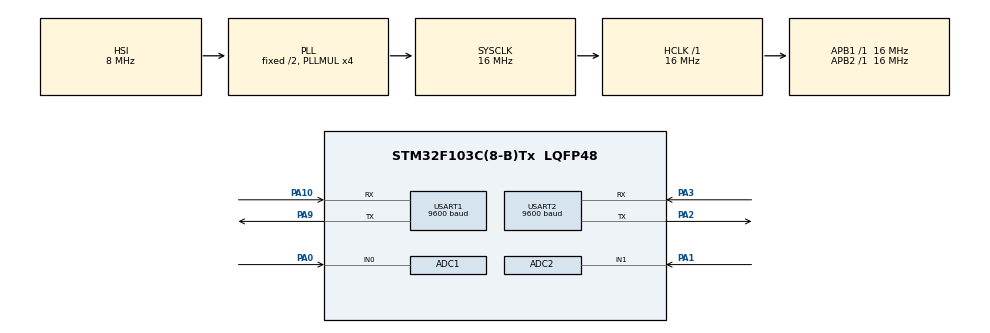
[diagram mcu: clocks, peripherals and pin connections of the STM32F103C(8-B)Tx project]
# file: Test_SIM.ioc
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ADC1.Channel-1\#ChannelRegularConversion=ADC_CHANNEL_0
ADC1.ContinuousConvMode=DISABLE
ADC1.NbrOfConversionFlag=1
ADC1.Rank-1\#ChannelRegularConversion=1
ADC1.SamplingTime-1\#ChannelRegularConversion=ADC_SAMPLETIME_239CYCLES_5
ADC1.master=1
ADC2.Channel-5\#ChannelRegularConversion=ADC_CHANNEL_1
ADC2.ContinuousConvMode=DISABLE
ADC2.NbrOfConversionFlag=1
ADC2.Rank-5\#ChannelRegularConversion=1
ADC2.SamplingTime-5\#ChannelRegularConversion=ADC_SAMPLETIME_1CYCLE_5
Mcu.Family=STM32F1
Mcu.Name=STM32F103C(8-B)Tx
Mcu.Package=LQFP48
NVIC.ADC1_2_IRQn=true\:0\:0\:false\:false\:true\:true\:true\:true
NVIC.PriorityGroup=NVIC_PRIORITYGROUP_4
PA0-WKUP.Signal=ADCx_IN0
PA1.Signal=ADCx_IN1
PA10.Mode=Asynchronous
PA10.Signal=USART1_RX
PA13.Mode=Serial_Wire
PA13.Signal=SYS_JTMS-SWDIO
PA14.Mode=Serial_Wire
PA14.Signal=SYS_JTCK-SWCLK
PA2.Mode=Asynchronous
PA2.Signal=USART2_TX
PA3.Mode=Asynchronous
PA3.Signal=USART2_RX
PA9.Mode=Asynchronous
PA9.Signal=USART1_TX
PD0-OSC_IN.Mode=HSE-External-Oscillator
PD0-OSC_IN.Signal=RCC_OSC_IN
PD1-OSC_OUT.Mode=HSE-External-Oscillator
PD1-OSC_OUT.Signal=RCC_OSC_OUT
ProjectManager.HeapSize=0x200
ProjectManager.StackSize=0x400
ProjectManager.TargetToolchain=MDK-ARM V5.32
RCC.AHBFreq_Value=16000000
RCC.APB1Freq_Value=16000000
RCC.APB1TimFreq_Value=16000000
RCC.APB2Freq_Value=16000000
RCC.APB2TimFreq_Value=16000000
RCC.HCLKFreq_Value=16000000
RCC.PLLMUL=RCC_PLL_MUL4
RCC.SYSCLKFreq_VALUE=16000000
RCC.SYSCLKSource=RCC_SYSCLKSOURCE_PLLCLK
RCC.USBFreq_Value=16000000
SH.ADCx_IN0.0=ADC1_IN0,IN0
SH.ADCx_IN1.0=ADC2_IN1,IN1
USART1.BaudRate=9600
USART1.VirtualMode=VM_ASYNC
USART2.BaudRate=9600
USART2.Mode=MODE_TX
USART2.VirtualMode=VM_ASYNC
board=custom

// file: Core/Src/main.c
/* USER CODE BEGIN Header */
/**
  ******************************************************************************
  * @file           : main.c
  * @brief          : Main program body
  ******************************************************************************
  * @attention
  *
  * Copyright (c) 2023 STMicroelectronics.
  * All rights reserved.
  *
  * This software is licensed under terms that can be found in the LICENSE file
  * in the root directory of this software component.
  * If no LICENSE file comes with this software, it is provided AS-IS.
  *
  ******************************************************************************
  */
/* USER CODE END Header */
#include "main.h"

/* USER CODE BEGIN Includes */
#include "string.h"
#include <stdlib.h>
#include <time.h>
#include <stdio.h>
#include <math.h>
/* USER CODE END Includes */

ADC_HandleTypeDef hadc1;
ADC_HandleTypeDef hadc2;

UART_HandleTypeDef huart1;
UART_HandleTypeDef huart2;

void SystemClock_Config(void);
static void MX_GPIO_Init(void);
static void MX_USART1_UART_Init(void);
static void MX_USART2_UART_Init(void);
static void MX_ADC1_Init(void);
static void MX_ADC2_Init(void);

/* USER CODE BEGIN 0 */
#define MAX_STRING 150
#define	COUNT	10
float	MeanPH=0, MeanORP=0;
float PH[COUNT], ORP[COUNT];
float M_ORP, M_PH;
uint8_t ch[MAX_STRING];
uint8_t character;
void delString(uint8_t ch[]){
	for(int i=0;i<MAX_STRING;i++){
		ch[i] = '\0';
	}
}
uint16_t u16_ADCval,u16_ADCval1;
float Voltage_PH, Voltage_ORP;
void HAL_ADC_ConvCpltCallback(ADC_HandleTypeDef* hadc)
{
  /* Prevent unused argument(s) compilation warning */
  UNUSED(hadc);
	if(hadc->Instance == ADC1)
	{
		u16_ADCval = HAL_ADC_GetValue(&hadc1);
		Voltage_PH = (float)u16_ADCval/4095*3.3;
	}
	else if(hadc->Instance == ADC2)
	{
		u16_ADCval1 = HAL_ADC_GetValue(&hadc2);
		Voltage_ORP = (float)u16_ADCval1/4095*3.3;
	}
  /* NOTE : This function should not be modified. When the callback is needed,
            function HAL_ADC_ConvCpltCallback must be implemented in the user file.
   */
}
void GetADC(){
	for(int i=0;i<COUNT;i++){
			HAL_ADC_Start_IT(&hadc1);
			HAL_Delay(100);
			PH[i]= Voltage_PH;
		}
		for(int i=0;i<COUNT;i++){
			HAL_ADC_Start_IT(&hadc2);
			HAL_Delay(100);
			ORP[i]= Voltage_ORP;
		}
		for(int i=0;i<COUNT;i++){
			MeanPH += PH[i];
			MeanORP += ORP[i];
		}
		M_ORP = MeanORP/COUNT;
		M_PH = MeanPH/COUNT;
		MeanORP =0;
		MeanPH =0;
}
/* USER CODE END 0 */

int main(void)
{
  /* USER CODE BEGIN 1 */
	srand(time(NULL));
  /* USER CODE END 1 */

  /* MCU Configuration--------------------------------------------------------*/

  /* Reset of all peripherals, Initializes the Flash interface and the Systick. */
  HAL_Init();

  /* Configure the system clock */
  SystemClock_Config();

  /* Initialize all configured peripherals */
  MX_GPIO_Init();
  MX_USART1_UART_Init();
  MX_USART2_UART_Init();
  MX_ADC1_Init();
  MX_ADC2_Init();

  /* Infinite loop */
  while (1)
  {

    /* USER CODE BEGIN 3 */
//		uint8_t randomNumber, character;
		GetADC();
		uint8_t str[] = "AT\n";
	  HAL_UART_Transmit(&huart1,str, strlen((char *)str), HAL_MAX_DELAY);
		HAL_UART_Receive(&huart1,ch,strlen((char *)str) + 5, HAL_MAX_DELAY);
		HAL_UART_Transmit(&huart2,ch,strlen((char *)str) + 5, HAL_MAX_DELAY);
		HAL_Delay(5000);
		delString(ch);
		uint8_t i=0;
		while(i<10){
			HAL_UART_Receive(&huart1,&character,1, 0);
			HAL_Delay(500);
			i++;
		}

		uint8_t str99[] = "AT+SAPBR=3,1,\"CONTYPE\",\"GPRS\"\n";
		HAL_UART_Transmit(&huart1,str99, strlen((char *)str99), HAL_MAX_DELAY);
		HAL_UART_Receive(&huart1,ch,strlen((char *)str99) + 5, HAL_MAX_DELAY);
		HAL_UART_Transmit(&huart2,ch,strlen((char *)str99) + 5, HAL_MAX_DELAY);
		HAL_Delay(5000);
		delString(ch);
		i=0;
		while(i<10){
			HAL_UART_Receive(&huart1,&character,1, 0);
			HAL_Delay(500);
			i++;
		}

		uint8_t str1[] = "AT+CSTT=\"internet\"\n";
		HAL_UART_Transmit(&huart1,str1, strlen((char *)str1), HAL_MAX_DELAY);
		HAL_UART_Receive(&huart1,ch,strlen((char *)str1) + 5, HAL_MAX_DELAY);
		HAL_UART_Transmit(&huart2,ch,strlen((char *)str1) + 5, HAL_MAX_DELAY);
		HAL_Delay(5000);
		delString(ch);
		i=0;
		while(i<10){
			HAL_UART_Receive(&huart1,&character,1, 0);
			HAL_Delay(500);
			i++;
		}

		uint8_t str98[] = "AT+SAPBR=1,1\n";
		HAL_UART_Transmit(&huart1,str98, strlen((char *)str98), HAL_MAX_DELAY);
		HAL_UART_Receive(&huart1,ch,strlen((char *)str98) + 5, HAL_MAX_DELAY);
		HAL_UART_Transmit(&huart2,ch,strlen((char *)str98) + 5, HAL_MAX_DELAY);
		HAL_Delay(5000);
		delString(ch);
		i=0;
		while(i<10){
			HAL_UART_Receive(&huart1,&character,1, 0);
			HAL_Delay(500);
			i++;
		}

		uint8_t str97[] = "AT+SAPBR=2,1\n";
		HAL_UART_Transmit(&huart1,str97, strlen((char *)str97), HAL_MAX_DELAY);
		HAL_UART_Receive(&huart1,ch,strlen((char *)str97) + 5, HAL_MAX_DELAY);
		HAL_UART_Transmit(&huart2,ch,strlen((char *)str97) + 5, HAL_MAX_DELAY);
		HAL_Delay(5000);
		delString(ch);
		i=0;
		while(i<10){
			HAL_UART_Receive(&huart1,&character,1, 0);
			HAL_Delay(500);
			i++;
		}

//		while(HAL_UART_GetState(&huart1) == HAL_UART_STATE_BUSY_RX){
//			HAL_UART_Receive(&huart1,&character,1, HAL_MAX_DELAY);
//			HAL_Delay(500);
//		}

		uint8_t str2[] = "AT+CIICR\n";
		HAL_UART_Transmit(&huart1,str2, strlen((char *)str2), HAL_MAX_DELAY);
		HAL_UART_Receive(&huart1,ch,strlen((char *)str2) + 5, HAL_MAX_DELAY);
		HAL_UART_Transmit(&huart2,ch,strlen((char *)str2) + 5, HAL_MAX_DELAY);
		HAL_Delay(5000);
		delString(ch);
		i=0;
		while(i<10){
			HAL_UART_Receive(&huart1,&character,1, 0);
			HAL_Delay(500);
			i++;
		}

		uint8_t str3[] = "AT+CIFSR\n";
		HAL_UART_Transmit(&huart1,str3, strlen((char *)str3), HAL_MAX_DELAY);
		HAL_UART_Receive(&huart1,ch,strlen((char *)str3) + 5, HAL_MAX_DELAY);
		HAL_UART_Transmit(&huart2,ch,strlen((char *)str3) + 5, HAL_MAX_DELAY);
		HAL_Delay(5000);
		delString(ch);
		i=0;
		while(i<10){
			HAL_UART_Receive(&huart1,&character,1, 0);
			HAL_Delay(500);
			i++;
		}

		uint8_t str4[] = "AT+HTTPINIT\n";
		HAL_UART_Transmit(&huart1,str4, strlen((char *)str4), HAL_MAX_DELAY);
		HAL_UART_Receive(&huart1,ch,strlen((char *)str4) + 5, HAL_MAX_DELAY);
		HAL_UART_Transmit(&huart2,ch,strlen((char *)str4) + 5, HAL_MAX_DELAY);
		HAL_Delay(5000);
		delString(ch);
		i=0;
		while(i<10){
			HAL_UART_Receive(&huart1,&character,1, 0);
			HAL_Delay(500);
			i++;
		}

		uint8_t str5[] = "AT+HTTPPARA=\"CID\",1\n";
		HAL_UART_Transmit(&huart1,str5, strlen((char *)str5), HAL_MAX_DELAY);
		HAL_UART_Receive(&huart1,ch,strlen((char *)str5) + 5, HAL_MAX_DELAY);
		HAL_UART_Transmit(&huart2,ch,strlen((char *)str5) + 5, HAL_MAX_DELAY);
		HAL_Delay(5000);
		delString(ch);
		i=0;
		while(i<10){
			HAL_UART_Receive(&huart1,&character,1, 0);
			HAL_Delay(500);
			i++;
		}

		while(1){
			//randomNumber = rand()%100 + 10;
			uint8_t b = (uint8_t)M_PH;
			float a1 = (M_PH-b)*10;
			uint8_t c = (uint8_t)(a1);
			float a2 = (a1-c)*10;
			uint8_t d = (uint8_t)(a2);
			float a3 = (a2-d)*10;
			uint8_t e = (uint8_t)(a3);

			uint8_t b1 = (uint8_t)M_ORP;
			float at1 = (M_ORP-b1)*10;
			uint8_t c1 = (uint8_t)(at1);
			float at2 = (a1-c1)*10;
			uint8_t d1 = (uint8_t)(at2);
			float at3 = (a2-d1)*10;
			uint8_t e1 = (uint8_t)(at3);
			uint8_t string1[] = "AT+HTTPPARA=\"URL\",\"http://api.thingspeak.com/update?api_key=QGHIY6710J8D8QKB&field1=";
			uint8_t string3[] = "\"\n";
			uint8_t string2[] = "&field2=";
			uint8_t str6[strlen((char *)string1)+strlen((char *)string2)+strlen((char *)string3)+12];
			sprintf((char *)str6, "%s%d.%d%d%d%s%d.%d%d%d%s", (char *)string1, b,c,d,e, (char *)string2,b1,c1,d1,e1, (char *)string3);
			HAL_UART_Transmit(&huart1,str6, strlen((char *)str6), HAL_MAX_DELAY);
			HAL_UART_Receive(&huart1,ch,strlen((char *)str6) + 5, HAL_MAX_DELAY);
			HAL_UART_Transmit(&huart2,ch,strlen((char *)str6) + 5, HAL_MAX_DELAY);
			HAL_Delay(20000);
			i=0;
			while(i<10){
				HAL_UART_Receive(&huart1,&character,1, 0);
				HAL_Delay(500);
				i++;
			}
			delString(ch);

			uint8_t str7[] = "AT+HTTPPARA=\"CONTENT\",\"application/x-www-form-urlencoded\"\n";
			HAL_UART_Transmit(&huart1,str7, strlen((char *)str7), HAL_MAX_DELAY);
			HAL_UART_Receive(&huart1,ch,strlen((char *)str7) + 5, HAL_MAX_DELAY);
			HAL_UART_Transmit(&huart2,ch,strlen((char *)str7) + 5, HAL_MAX_DELAY);
			HAL_Delay(5000);
			delString(ch);
			i=0;
			while(i<10){
				HAL_UART_Receive(&huart1,&character,1, 0);
				HAL_Delay(500);
				i++;
			}

			uint8_t str8[] = "AT+HTTPACTION=0\n"; //24 ky tu
			HAL_UART_Transmit(&huart1,str8, strlen((char *)str8), HAL_MAX_DELAY);
			HAL_UART_Receive(&huart1,ch,strlen((char *)str8) + 5, HAL_MAX_DELAY);
			HAL_UART_Transmit(&huart2,ch,strlen((char *)str8) + 5, HAL_MAX_DELAY);
			HAL_Delay(5000);
			delString(ch);
			i=0;
			while(i<10){
				HAL_UART_Receive(&huart1,&character,1, 0);
				HAL_Delay(500);
				i++;
			}
			GetADC();
			HAL_Delay(100);
		}

 }
  /* USER CODE END 3 */
}

void SystemClock_Config(void)
{
  RCC_OscInitTypeDef RCC_OscInitStruct = {0};
  RCC_ClkInitTypeDef RCC_ClkInitStruct = {0};
  RCC_PeriphCLKInitTypeDef PeriphClkInit = {0};

  /** Initializes the RCC Oscillators according to the specified parameters
  * in the RCC_OscInitTypeDef structure.
  */
  RCC_OscInitStruct.OscillatorType = RCC_OSCILLATORTYPE_HSI;
  RCC_OscInitStruct.HSIState = RCC_HSI_ON;
  RCC_OscInitStruct.HSICalibrationValue = RCC_HSICALIBRATION_DEFAULT;
  RCC_OscInitStruct.PLL.PLLState = RCC_PLL_ON;
  RCC_OscInitStruct.PLL.PLLSource = RCC_PLLSOURCE_HSI_DIV2;
  RCC_OscInitStruct.PLL.PLLMUL = RCC_PLL_MUL4;
  if (HAL_RCC_OscConfig(&RCC_OscInitStruct) != HAL_OK)
  {
    Error_Handler();
  }

  /** Initializes the CPU, AHB and APB buses clocks
  */
  RCC_ClkInitStruct.ClockType = RCC_CLOCKTYPE_HCLK|RCC_CLOCKTYPE_SYSCLK
                              |RCC_CLOCKTYPE_PCLK1|RCC_CLOCKTYPE_PCLK2;
  RCC_ClkInitStruct.SYSCLKSource = RCC_SYSCLKSOURCE_PLLCLK;
  RCC_ClkInitStruct.AHBCLKDivider = RCC_SYSCLK_DIV1;
  RCC_ClkInitStruct.APB1CLKDivider = RCC_HCLK_DIV1;
  RCC_ClkInitStruct.APB2CLKDivider = RCC_HCLK_DIV1;

  if (HAL_RCC_ClockConfig(&RCC_ClkInitStruct, FLASH_LATENCY_0) != HAL_OK)
  {
    Error_Handler();
  }
  PeriphClkInit.PeriphClockSelection = RCC_PERIPHCLK_ADC;
  PeriphClkInit.AdcClockSelection = RCC_ADCPCLK2_DIV2;
  if (HAL_RCCEx_PeriphCLKConfig(&PeriphClkInit) != HAL_OK)
  {
    Error_Handler();
  }
}

static void MX_ADC1_Init(void)
{

  ADC_ChannelConfTypeDef sConfig = {0};

  /** Common config
  */
  hadc1.Instance = ADC1;
  hadc1.Init.ScanConvMode = ADC_SCAN_DISABLE;
  hadc1.Init.ContinuousConvMode = DISABLE;
  hadc1.Init.DiscontinuousConvMode = DISABLE;
  hadc1.Init.ExternalTrigConv = ADC_SOFTWARE_START;
  hadc1.Init.DataAlign = ADC_DATAALIGN_RIGHT;
  hadc1.Init.NbrOfConversion = 1;
  if (HAL_ADC_Init(&hadc1) != HAL_OK)
  {
    Error_Handler();
  }

  /** Configure Regular Channel
  */
  sConfig.Channel = ADC_CHANNEL_0;
  sConfig.Rank = ADC_REGULAR_RANK_1;
  sConfig.SamplingTime = ADC_SAMPLETIME_239CYCLES_5;
  if (HAL_ADC_ConfigChannel(&hadc1, &sConfig) != HAL_OK)
  {
    Error_Handler();
  }

}

static void MX_ADC2_Init(void)
{

  ADC_ChannelConfTypeDef sConfig = {0};

  /** Common config
  */
  hadc2.Instance = ADC2;
  hadc2.Init.ScanConvMode = ADC_SCAN_DISABLE;
  hadc2.Init.ContinuousConvMode = DISABLE;
  hadc2.Init.DiscontinuousConvMode = DISABLE;
  hadc2.Init.ExternalTrigConv = ADC_SOFTWARE_START;
  hadc2.Init.DataAlign = ADC_DATAALIGN_RIGHT;
  hadc2.Init.NbrOfConversion = 1;
  if (HAL_ADC_Init(&hadc2) != HAL_OK)
  {
    Error_Handler();
  }

  /** Configure Regular Channel
  */
  sConfig.Channel = ADC_CHANNEL_1;
  sConfig.Rank = ADC_REGULAR_RANK_1;
  sConfig.SamplingTime = ADC_SAMPLETIME_1CYCLE_5;
  if (HAL_ADC_ConfigChannel(&hadc2, &sConfig) != HAL_OK)
  {
    Error_Handler();
  }

}

static void MX_USART1_UART_Init(void)
{

  huart1.Instance = USART1;
  huart1.Init.BaudRate = 9600;
  huart1.Init.WordLength = UART_WORDLENGTH_8B;
  huart1.Init.StopBits = UART_STOPBITS_1;
  huart1.Init.Parity = UART_PARITY_NONE;
  huart1.Init.Mode = UART_MODE_TX_RX;
  huart1.Init.HwFlowCtl = UART_HWCONTROL_NONE;
  huart1.Init.OverSampling = UART_OVERSAMPLING_16;
  if (HAL_UART_Init(&huart1) != HAL_OK)
  {
    Error_Handler();
  }

}

static void MX_USART2_UART_Init(void)
{

  huart2.Instance = USART2;
  huart2.Init.BaudRate = 9600;
  huart2.Init.WordLength = UART_WORDLENGTH_8B;
  huart2.Init.StopBits = UART_STOPBITS_1;
  huart2.Init.Parity = UART_PARITY_NONE;
  huart2.Init.Mode = UART_MODE_TX;
  huart2.Init.HwFlowCtl = UART_HWCONTROL_NONE;
  huart2.Init.OverSampling = UART_OVERSAMPLING_16;
  if (HAL_UART_Init(&huart2) != HAL_OK)
  {
    Error_Handler();
  }

}

static void MX_GPIO_Init(void)
{

  /* GPIO Ports Clock Enable */
  __HAL_RCC_GPIOD_CLK_ENABLE();
  __HAL_RCC_GPIOA_CLK_ENABLE();

}

void Error_Handler(void)
{
  __disable_irq();
  while (1)
  {
  }
}
